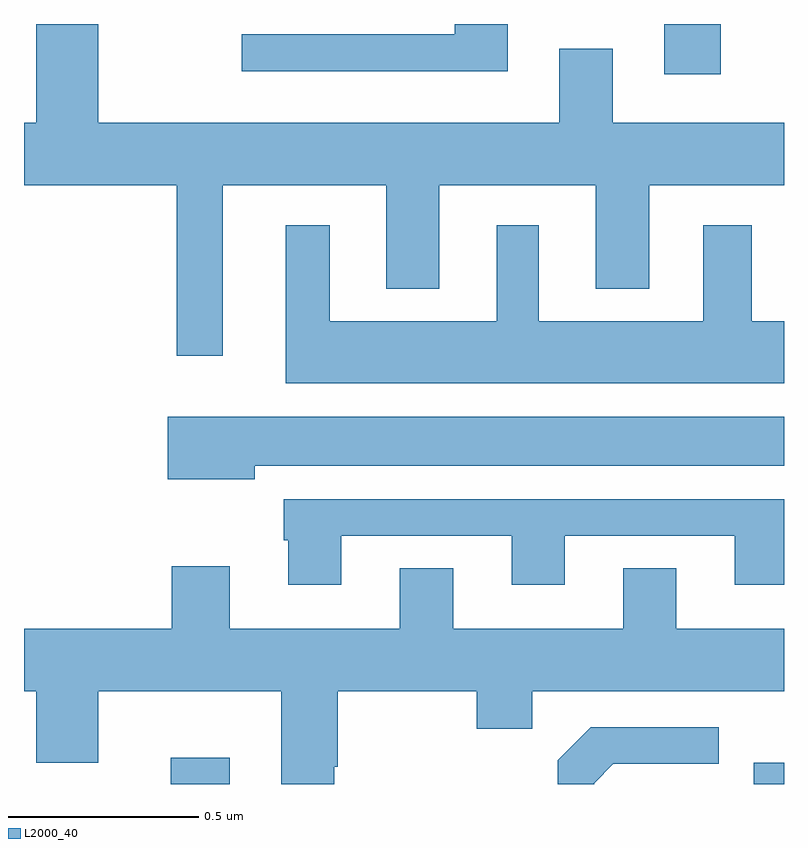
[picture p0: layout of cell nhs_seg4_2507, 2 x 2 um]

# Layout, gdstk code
import gdstk
lib = gdstk.Library(unit=1e-6, precision=1e-09)
def R(c, l, rs):  # rectangles x0, y0, x1, y1
    for r in rs: c.add(gdstk.rectangle(r[:2], r[2:], *l))
def P(c, l, *ps):  # polygons
    for p in ps: c.add(gdstk.Polygon(p, *l))
L2000_40 = (2000, 40)

nhs_seg4_2507 = lib.new_cell('nhs_seg4_2507')
R(nhs_seg4_2507, L2000_40, [(141.386,805.9,141.541,805.969), (142.92,805.9,143,805.956), (142.685,807.768,142.833,807.9)])
P(nhs_seg4_2507, L2000_40, [(142.273,807.9),(142.133,807.9),(142.133,807.873),(141.573,807.873),(141.573,807.776),(142.273,807.776)],
  [(141.523,807.476),(141.953,807.476),(141.953,807.203),(142.093,807.203),(142.093,807.476),(142.505,807.476),(142.505,807.203),(142.645,807.203),(142.645,807.476),(143,807.476),(143,807.64),(142.549,807.64),(142.549,807.835),(142.409,807.835),(142.409,807.64),(141.196,807.64),(141.196,807.9),(141.032,807.9),(141.032,807.64),(141,807.64),(141,807.476),(141.402,807.476),(141.402,807.027),(141.523,807.027)],
  [(143,807.118),(142.915,807.118),(142.915,807.37),(142.787,807.37),(142.787,807.118),(142.354,807.118),(142.354,807.37),(142.244,807.37),(142.244,807.118),(141.805,807.118),(141.805,807.37),(141.689,807.37),(141.689,806.954),(143,806.954)],
  [(141.607,806.738),(143,806.738),(143,806.866),(141.378,806.866),(141.378,806.702),(141.607,806.702)],
  [(141.835,806.553),(142.283,806.553),(142.283,806.424),(142.423,806.424),(142.423,806.553),(142.871,806.553),(142.871,806.424),(143,806.424),(143,806.649),(141.683,806.649),(141.683,806.541),(141.695,806.541),(141.695,806.424),(141.835,806.424)],
  [(141.817,805.945),(141.825,805.945),(141.825,806.144),(142.192,806.144),(142.192,806.045),(142.338,806.045),(142.338,806.144),(143,806.144),(143,806.308),(142.717,806.308),(142.717,806.468),(142.577,806.468),(142.577,806.308),(142.129,806.308),(142.129,806.468),(141.989,806.468),(141.989,806.308),(141.541,806.308),(141.541,806.473),(141.389,806.473),(141.389,806.308),(141,806.308),(141,806.144),(141.032,806.144),(141.032,805.956),(141.196,805.956),(141.196,806.144),(141.677,806.144),(141.677,805.9),(141.817,805.9)],
  [(142.5,805.902),(142.551,805.953),(142.828,805.953),(142.828,806.049),(142.491,806.049),(142.404,805.962),(142.404,805.9),(142.5,805.9)])

lib.write_gds('nhs_seg4_2507.gds')
